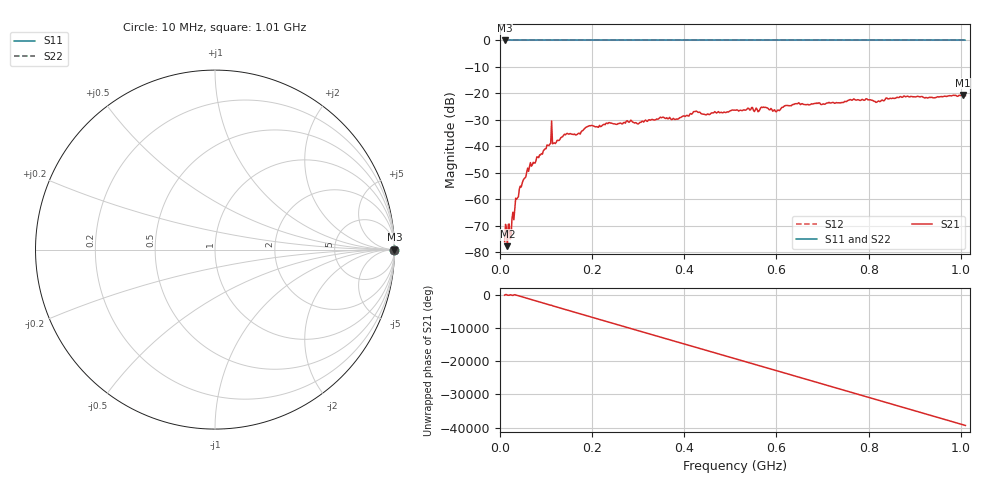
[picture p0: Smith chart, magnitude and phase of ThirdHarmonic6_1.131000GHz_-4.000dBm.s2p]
! 8/16/2025 10:59:43 AM
! C:\ANRITSUVNA\TEMP\TEMP.S2P
! CHANNEL.1
! TR.MEASUREMENT
! RAW.DATA
! RF.CORRECTION.OFF
! AVERAGING.OFF
! IF.BANDWIDTH: 5KHZ
! SWEEPTYPE:  FREQ.SWEEP(Linear)
! Reference Plane Port Info
! PORT:  PORT1  PORT2
! DISTANCE:  0  m  0  m
! TIME:  0  s  0  s
! PHASE.OFFSET:  0  deg.  0  deg.
! LOSS:  0  dB  0  dB
! REF.LOSS:  0  dB  0  dB
! REF.FREQ:  0  Hz  0  Hz
! Power Info
! POWER:  -20  dBm  -20  dBm
! EFF.POWER:  -20  dBm  -20  dBm
! SOURCE.ATTEN:  0  dB  0  dB
! TEST.ATTEN:  0  dB  0  dB
# GHZ S RI R 50.0
! FREQ.GHZ  S11RE  S11IM  S21RE  S21IM  S12RE  S12IM  S22RE  S22IM
!; PortSelection: Port_12
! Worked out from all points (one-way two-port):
!   501 points, 10 MHz to 1.01 GHz, reference 50 ohm
!   highest |S21| = -20.57 dB at 1.004 GHz (marker M1); lowest = -77.7 dB at 16 MHz (marker M2)
!   lowest |S11| = 0.0 dB at 10 MHz (marker M3)
!   |S11| at or under -10 dB: nowhere
!   |S22| runs from 0.0 to 0.0 dB; largest |S21 - S12| = 1.1
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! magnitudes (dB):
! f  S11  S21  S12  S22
! 10 MHz  0.0  -76.0  0.0  0.0
! 16 MHz  0.0  -77.7  0.0  0.0
! 20 MHz  0.0  -69.3  0.0  0.0
! 26 MHz  0.0  -67.3  0.0  0.0
! 30 MHz  0.0  -67.7  0.0  0.0
! 38 MHz  0.0  -59.4  0.0  0.0
! 62 MHz  0.0  -49.4  0.0  0.0
! 106 MHz  0.0  -39.7  0.0  0.0
! 108 MHz  0.0  -39.2  0.0  0.0
! 116 MHz  0.0  -38.8  0.0  0.0
! 118 MHz  0.0  -38.7  0.0  0.0
! 142 MHz  0.0  -35.6  0.0  0.0
! 178 MHz  0.0  -34.1  0.0  0.0
! 196 MHz  0.0  -32.2  0.0  0.0
! 344 MHz  0.0  -29.6  0.0  0.0
! 510 MHz  0.0  -26.3  0.0  0.0
! 602 MHz  0.0  -26.3  0.0  0.0
! 620 MHz  0.0  -24.6  0.0  0.0
! 678 MHz  0.0  -24.0  0.0  0.0
! 844 MHz  0.0  -22.0  0.0  0.0
! 1.004 GHz  0.0  -20.6  0.0  0.0
! 1.01 GHz  0.0  -20.9  0.0  0.0
